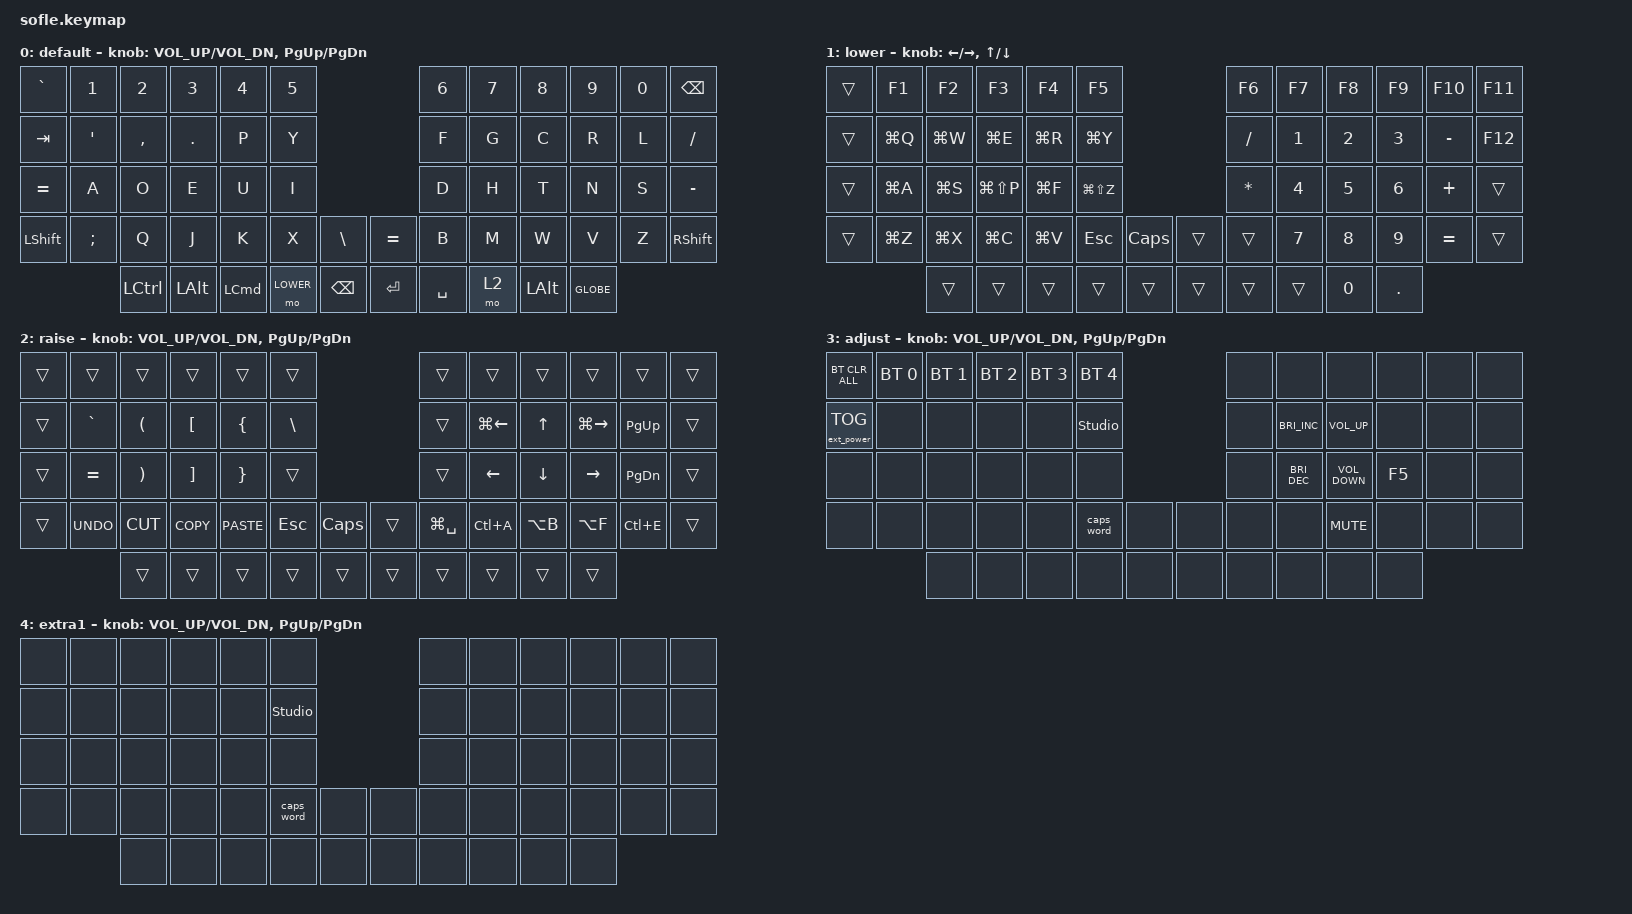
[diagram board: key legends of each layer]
/*
 * Copyright (c) 2020 The ZMK Contributors
 *
 * SPDX-License-Identifier: MIT
 */

#include <behaviors.dtsi>
#include <dt-bindings/zmk/bt.h>
#include <dt-bindings/zmk/ext_power.h>
#include <dt-bindings/zmk/keys.h>

#define BASE 0
#define LOWER 1
#define RAISE 2
#define ADJUST 3
#define extra_layer 4

/ {
    // Activate ADJUST layer by pressing raise and lower

    conditional_layers {
        compatible = "zmk,conditional-layers";

        adjust_layer {
            if-layers = <LOWER RAISE>;
            then-layer = <ADJUST>;
        };
    };

    combos { compatible = "zmk,combos"; };

    behaviors {
        caps: caps {
            compatible = "zmk,behavior-caps-word";
            label = "CAPS";
            #binding-cells = <0>;
            continue-list = <POUND MINUS BACKSPACE UNDERSCORE>;
        };
    };

    keymap {
        compatible = "zmk,keymap";

        default_layer {
            display-name = "default";

            // ------------------------------------------------------------------------------------------------------------
            // |   `   |  1  |  2  |  3   |  4   |  5   |                   |  6   |  7    |  8    |  9   |   0   |       |
            // |  ESC  |  Q  |  W  |  E   |  R   |  T   |                   |  Y   |  U    |  I    |  O   |   P   | BKSPC |
            // |  TAB  |  A  |  S  |  D   |  F   |  G   |                   |  H   |  J    |  K    |  L   |   ;   |   '   |
            // | SHIFT |  Z  |  X  |  C   |  V   |  B   |  MUTE  |  |       |  N   |  M    |  ,    |  .   |   /   | SHIFT |
            //               | GUI | ALT  | CTRL | LOWER|  ENTER |  | SPACE | RAISE| CTRL  | ALT   | GUI  |

            bindings = <
&kp GRAVE  &kp N1         &kp N2            &kp N3      &kp N4            &kp N5                                 &kp N6     &kp N7  &kp N8    &kp N9     &kp N0  &kp BACKSPACE
&kp TAB    &kp SQT        &kp COMMA         &kp PERIOD  &kp P             &kp Y                                  &kp F      &kp G   &kp C     &kp R      &kp L   &kp SLASH
&kp EQUAL  &kp A          &kp O             &kp E       &kp U             &kp I                                  &kp D      &kp H   &kp T     &kp N      &kp S   &kp MINUS
&kp LSHFT  &kp SEMICOLON  &kp Q             &kp J       &kp K             &kp X      &kp BACKSLASH    &kp EQUAL  &kp B      &kp M   &kp W     &kp V      &kp Z   &kp RSHFT
                          &kp LEFT_CONTROL  &kp LALT    &kp LEFT_COMMAND  &mo LOWER  &kp BACKSPACE    &kp ENTER  &kp SPACE  &mo 2   &kp LALT  &kp GLOBE
            >;

            sensor-bindings = <&inc_dec_kp C_VOL_UP C_VOL_DN &inc_dec_kp PG_UP PG_DN>;
        };

        lower_layer {
            display-name = "lower";

            // TODO: Some binds are waiting for shifted keycode support.
            // ------------------------------------------------------------------------------------------------------------
            // |       |  F1 |  F2 |  F3  |  F4  |  F5  |                   |  F6  |  F7   |  F8   |  F9  |  F10  |  F11  |
            // |   `   |  1  |  2  |  3   |  4   |  5   |                   |  6   |  7    |  8    |  9   |   0   |  F12  |
            // |       |  !  |  @  |  #   |  $   |  %   |                   |  ^   |  &    |  *    |  (   |   )   |   |   |
            // |       |  =  |  -  |  +   |  {   |  }   |        |  |       |  [   |  ]    |  ;    |  :   |   \   |       |
            //               |     |      |      |      |        |  |       |      |       |       |      |

            bindings = <
&trans  &kp F1     &kp F2     &kp F3         &kp F4     &kp F5                                 &kp F6        &kp F7        &kp F8        &kp F9        &kp F10    &kp F11
&trans  &kp LG(Q)  &kp LG(W)  &kp LG(E)      &kp LG(R)  &kp LG(Y)                              &kp SLASH     &kp NUMBER_1  &kp NUMBER_2  &kp NUMBER_3  &kp MINUS  &kp F12
&trans  &kp LG(A)  &kp LG(S)  &kp LG(LS(P))  &kp LG(F)  &kp LG(LS(Z))                          &kp ASTERISK  &kp NUMBER_4  &kp N5        &kp NUMBER_6  &kp PLUS   &trans
&trans  &kp LG(Z)  &kp LG(X)  &kp LG(C)      &kp LG(V)  &kp ESCAPE     &kp CAPSLOCK    &trans  &trans        &kp NUMBER_7  &kp NUMBER_8  &kp NUMBER_9  &kp EQUAL  &trans
                   &trans     &trans         &trans     &trans         &trans          &trans  &trans        &trans        &kp NUMBER_0  &kp PERIOD
            >;

            sensor-bindings =
                <&inc_dec_kp LEFT_ARROW RIGHT_ARROW>,
                <&inc_dec_kp UP_ARROW DOWN_ARROW>;
        };

        raise_layer {
            display-name = "raise";

            // ------------------------------------------------------------------------------------------------------------
            // | BTCLR | BT1  | BT2  |  BT3  |  BT4  |  BT5 |                |      |      |       |      |       |       |
            // |       | INS  | PSCR | GUI   |       |      |                | PGUP |      |   ^   |      |       |       |
            // |       | ALT  | CTRL | SHIFT |       | CAPS |                | PGDN |   <- |   v   |  ->  |  DEL  | BKSPC |
            // |       | UNDO | CUT  | COPY  | PASTE |      |      |  |      |      |      |       |      |       |       |
            //                |      |       |       |      |      |  |      |      |      |       |      |

            bindings = <
&trans  &trans      &trans                 &trans             &trans           &trans                                 &trans         &trans              &trans     &trans         &trans         &trans
&trans  &kp GRAVE   &kp LEFT_PARENTHESIS   &kp LEFT_BRACKET   &kp LEFT_BRACE   &kp BACKSLASH                          &trans         &kp LG(LEFT_ARROW)  &kp UP     &kp LG(RIGHT)  &kp PAGE_UP    &trans
&trans  &kp EQUAL   &kp RIGHT_PARENTHESIS  &kp RIGHT_BRACKET  &kp RIGHT_BRACE  &trans                                 &trans         &kp LEFT            &kp DOWN   &kp RIGHT      &kp PAGE_DOWN  &trans
&trans  &kp K_UNDO  &kp K_CUT              &kp K_COPY         &kp K_PASTE      &kp ESCAPE     &kp CAPSLOCK    &trans  &kp LG(SPACE)  &kp LC(A)           &kp LA(B)  &kp LA(F)      &kp LC(E)      &trans
                    &trans                 &trans             &trans           &trans         &trans          &trans  &trans         &trans              &trans     &trans
            >;

            sensor-bindings = <&inc_dec_kp C_VOL_UP C_VOL_DN &inc_dec_kp PG_UP PG_DN>;
        };

        adjust_layer {
            // ----------------------------------------------------------------------------------------------------------------------------
            // | BTCLR  |  BT1    |  BT2    |   BT3   |   BT4   |   BT5   |                  |      |      |       |      |       |       |
            // | EXTPWR | RGB_HUD | RGB_HUI | RGB_SAD | RGB_SAI | RGB_EFF |                  |      |      |       |      |       |       |
            // |        | RGB_BRD | RGB_BRI |         |         |         |                  |      |      |       |      |       |       |
            // |        |         |         |         |         |         | RGB_TOG | |      |      |      |       |      |       |       |
            //                    |         |         |         |         |         | |      |      |      |       |      |

            display-name = "adjust";
            bindings = <
&bt BT_CLR_ALL     &bt BT_SEL 0  &bt BT_SEL 1  &bt BT_SEL 2  &bt BT_SEL 3  &bt BT_SEL 4                    &none  &none                 &none              &none   &none  &none
&ext_power EP_TOG  &none         &none         &none         &none         &studio_unlock                  &none  &kp C_BRIGHTNESS_INC  &kp C_VOLUME_UP    &none   &none  &none
&none              &none         &none         &none         &none         &none                           &none  &kp C_BRIGHTNESS_DEC  &kp C_VOLUME_DOWN  &kp F5  &none  &none
&none              &none         &none         &none         &none         &caps_word      &none    &none  &none  &none                 &kp K_MUTE         &none   &none  &none
                                 &none         &none         &none         &none           &none    &none  &none  &none                 &none              &none
            >;

            sensor-bindings = <&inc_dec_kp C_VOL_UP C_VOL_DN &inc_dec_kp PG_UP PG_DN>;
        };

        extra_layer {
            // ----------------------------------------------------------------------------------------------------------------------------
            // | BTCLR  |  BT1    |  BT2    |   BT3   |   BT4   |   BT5   |                  |      |      |       |      |       |       |
            // | EXTPWR | RGB_HUD | RGB_HUI | RGB_SAD | RGB_SAI | RGB_EFF |                  |      |      |       |      |       |       |
            // |        | RGB_BRD | RGB_BRI |         |         |         |                  |      |      |       |      |       |       |
            // |        |         |         |         |         |         | RGB_TOG | |      |      |      |       |      |       |       |
            //                    |         |         |         |         |         | |      |      |      |       |      |

            display-name = "extra1";
            bindings = <
&none  &none  &none  &none  &none  &none                           &none  &none  &none  &none  &none  &none
&none  &none  &none  &none  &none  &studio_unlock                  &none  &none  &none  &none  &none  &none
&none  &none  &none  &none  &none  &none                           &none  &none  &none  &none  &none  &none
&none  &none  &none  &none  &none  &caps_word      &none    &none  &none  &none  &none  &none  &none  &none
              &none  &none  &none  &none           &none    &none  &none  &none  &none  &none
            >;

            sensor-bindings = <&inc_dec_kp C_VOL_UP C_VOL_DN &inc_dec_kp PG_UP PG_DN>;
        };
    };
};
